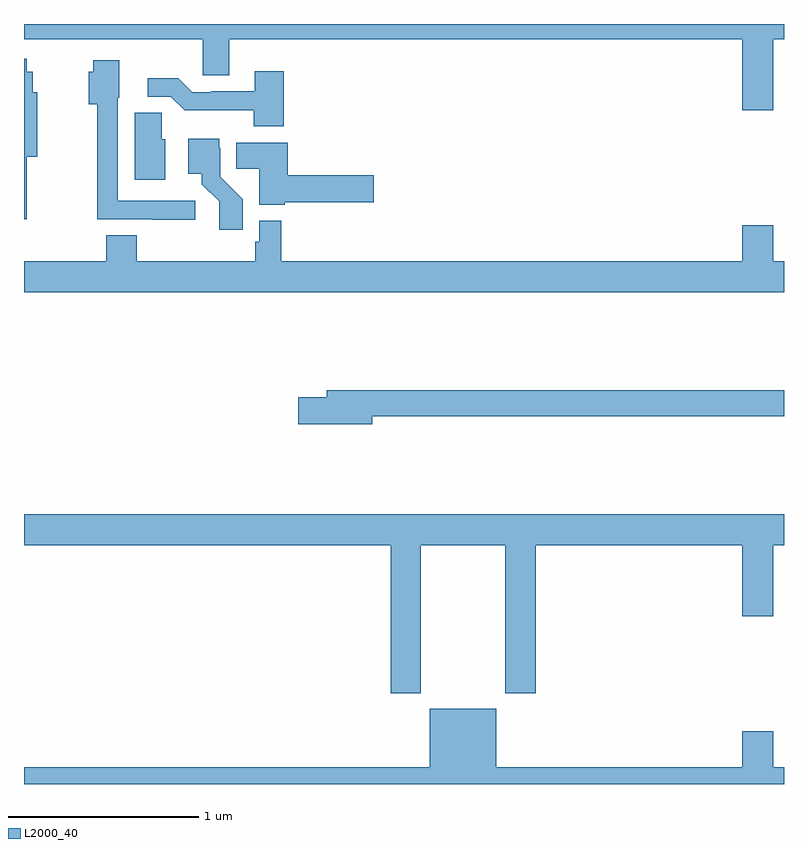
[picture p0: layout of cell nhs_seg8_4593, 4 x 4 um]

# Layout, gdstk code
import gdstk
lib = gdstk.Library(unit=1e-6, precision=1e-09)
def P(c, l, *ps):  # polygons
    for p in ps: c.add(gdstk.Polygon(p, *l))
L2000_40 = (2000, 40)

nhs_seg8_4593 = lib.new_cell('nhs_seg8_4593')
P(nhs_seg8_4593, L2000_40, [(392.944,1129.82),(393,1129.82),(393,1129.9),(389,1129.9),(389,1129.82),(389.94,1129.82),(389.94,1129.63),(390.079,1129.63),(390.079,1129.82),(392.78,1129.82),(392.78,1129.446),(392.944,1129.446)],
  [(389.014,1129.202),(389.07,1129.202),(389.07,1129.542),(389.046,1129.542),(389.046,1129.648),(389.014,1129.648),(389.014,1129.717),(389,1129.717),(389,1128.873),(389.014,1128.873)],
  [(389.902,1128.969),(389.493,1128.969),(389.493,1129.512),(389.5,1129.512),(389.5,1129.708),(389.364,1129.708),(389.364,1129.648),(389.342,1129.648),(389.342,1129.478),(389.385,1129.478),(389.385,1128.873),(389.677,1128.873),(389.677,1128.871),(389.902,1128.871)],
  [(390.368,1129.651),(390.215,1129.651),(390.215,1129.545),(389.986,1129.545),(389.986,1129.542),(389.886,1129.542),(389.813,1129.615),(389.652,1129.615),(389.652,1129.518),(389.772,1129.518),(389.845,1129.446),(390.208,1129.446),(390.208,1129.361),(390.368,1129.361)],
  [(389.743,1129.293),(389.724,1129.293),(389.724,1129.433),(389.582,1129.433),(389.582,1129.08),(389.743,1129.08)],
  [(390.152,1128.978),(390.033,1129.097),(390.033,1129.248),(390.028,1129.248),(390.028,1129.297),(389.864,1129.297),(389.864,1129.112),(389.936,1129.112),(389.936,1129.057),(390.027,1128.967),(390.027,1128.816),(390.152,1128.816)],
  [(390.372,1128.961),(390.841,1128.961),(390.841,1129.103),(390.389,1129.103),(390.389,1129.276),(390.118,1129.276),(390.118,1129.138),(390.239,1129.138),(390.239,1128.95),(390.372,1128.95)],
  [(393,1128.652),(392.944,1128.652),(392.944,1128.841),(392.78,1128.841),(392.78,1128.652),(390.353,1128.652),(390.353,1128.865),(390.237,1128.865),(390.237,1128.753),(390.217,1128.753),(390.217,1128.652),(389.594,1128.652),(389.594,1128.788),(389.434,1128.788),(389.434,1128.652),(389,1128.652),(389,1128.488),(393,1128.488)],
  [(390.832,1127.836),(393,1127.836),(393,1127.972),(390.593,1127.972),(390.593,1127.936),(390.444,1127.936),(390.444,1127.794),(390.832,1127.794)],
  [(391.089,1127.156),(391.534,1127.156),(391.534,1126.377),(391.694,1126.377),(391.694,1127.156),(392.78,1127.156),(392.78,1126.782),(392.944,1126.782),(392.944,1127.156),(393,1127.156),(393,1127.32),(389,1127.32),(389,1127.156),(390.929,1127.156),(390.929,1126.377),(391.089,1126.377)],
  [(389,1125.9),(393,1125.9),(393,1125.988),(392.944,1125.988),(392.944,1126.177),(392.78,1126.177),(392.78,1125.988),(391.486,1125.988),(391.486,1126.297),(391.136,1126.297),(391.136,1125.988),(389,1125.988)])

lib.write_gds('nhs_seg8_4593.gds')
